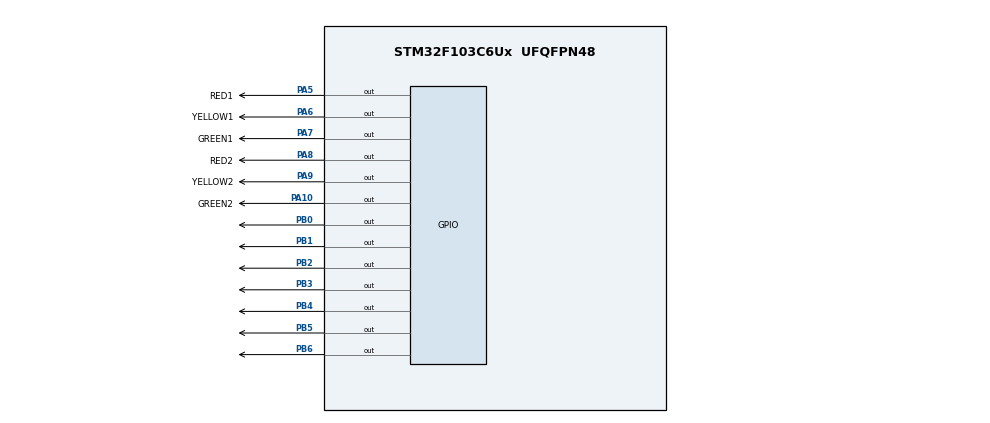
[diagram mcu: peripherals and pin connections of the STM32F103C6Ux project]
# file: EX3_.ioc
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Mcu.Family=STM32F1
Mcu.Name=STM32F103C6Ux
Mcu.Package=UFQFPN48
NVIC.PriorityGroup=NVIC_PRIORITYGROUP_4
PA10.GPIO_Label=GREEN2
PA10.Signal=GPIO_Output
PA5.GPIO_Label=RED1
PA5.Signal=GPIO_Output
PA6.GPIO_Label=YELLOW1
PA6.Signal=GPIO_Output
PA7.GPIO_Label=GREEN1
PA7.Signal=GPIO_Output
PA8.GPIO_Label=RED2
PA8.Signal=GPIO_Output
PA9.GPIO_Label=YELLOW2
PA9.Signal=GPIO_Output
PB0.Signal=GPIO_Output
PB1.Signal=GPIO_Output
PB2.Signal=GPIO_Output
PB3.Signal=GPIO_Output
PB4.Signal=GPIO_Output
PB5.Signal=GPIO_Output
PB6.Signal=GPIO_Output
ProjectManager.HeapSize=0x200
ProjectManager.StackSize=0x400
ProjectManager.TargetToolchain=STM32CubeIDE
RCC.APB1Freq_Value=8000000
RCC.APB2Freq_Value=8000000
VP_SYS_VS_ND.Mode=No_Debug
board=custom

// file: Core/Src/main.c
/* USER CODE BEGIN Header */
/**
  ******************************************************************************
  * @file           : main.c
  * @brief          : Main program body
  ******************************************************************************
  * @attention
  *
  * <h2><center>&copy; Copyright (c) 2025 STMicroelectronics.
  * All rights reserved.</center></h2>
  *
  * This software component is licensed by ST under BSD 3-Clause license,
  * the "License"; You may not use this file except in compliance with the
  * License. You may obtain a copy of the License at:
  *                        opensource.org/licenses/BSD-3-Clause
  *
  ******************************************************************************
  */
/* USER CODE END Header */
#include "main.h"

void SystemClock_Config(void);
static void MX_GPIO_Init(void);
/* USER CODE BEGIN PFP */
static const uint8_t segCode[10] = {
    0b1000000, // 0
    0b1111001, // 1
    0b0100100, // 2
    0b0110000, // 3
    0b0011001, // 4
    0b0010010, // 5
    0b0000010, // 6
    0b1111000, // 7
    0b0000000, // 8
    0b0010000  // 9
};

void display7SEG(int num) {
    if (num < 0 || num > 9) num = 0;

    for (int i = 0; i < 7; i++) {
        HAL_GPIO_WritePin(GPIOB, (1 << i),
            (segCode[num] & (1 << i)) ? GPIO_PIN_SET : GPIO_PIN_RESET);
    }
}

/* USER CODE END PFP */

int main(void)
{

  /* MCU Configuration--------------------------------------------------------*/

  /* Reset of all peripherals, Initializes the Flash interface and the Systick. */
  HAL_Init();

  /* Configure the system clock */
  SystemClock_Config();

  /* Initialize all configured peripherals */
  MX_GPIO_Init();

  /* Infinite loop */
  /* USER CODE BEGIN WHILE */
  int counter=9	;
  while (1)
  {if (counter <0) counter =9;
  display7SEG(counter--);
  HAL_Delay(1000);
    /* USER CODE END WHILE */

  }
}

void SystemClock_Config(void)
{
  RCC_OscInitTypeDef RCC_OscInitStruct = {0};
  RCC_ClkInitTypeDef RCC_ClkInitStruct = {0};

  /** Initializes the RCC Oscillators according to the specified parameters
  * in the RCC_OscInitTypeDef structure.
  */
  RCC_OscInitStruct.OscillatorType = RCC_OSCILLATORTYPE_HSI;
  RCC_OscInitStruct.HSIState = RCC_HSI_ON;
  RCC_OscInitStruct.HSICalibrationValue = RCC_HSICALIBRATION_DEFAULT;
  RCC_OscInitStruct.PLL.PLLState = RCC_PLL_NONE;
  if (HAL_RCC_OscConfig(&RCC_OscInitStruct) != HAL_OK)
  {
    Error_Handler();
  }
  /** Initializes the CPU, AHB and APB buses clocks
  */
  RCC_ClkInitStruct.ClockType = RCC_CLOCKTYPE_HCLK|RCC_CLOCKTYPE_SYSCLK
                              |RCC_CLOCKTYPE_PCLK1|RCC_CLOCKTYPE_PCLK2;
  RCC_ClkInitStruct.SYSCLKSource = RCC_SYSCLKSOURCE_HSI;
  RCC_ClkInitStruct.AHBCLKDivider = RCC_SYSCLK_DIV1;
  RCC_ClkInitStruct.APB1CLKDivider = RCC_HCLK_DIV1;
  RCC_ClkInitStruct.APB2CLKDivider = RCC_HCLK_DIV1;

  if (HAL_RCC_ClockConfig(&RCC_ClkInitStruct, FLASH_LATENCY_0) != HAL_OK)
  {
    Error_Handler();
  }
}

static void MX_GPIO_Init(void)
{
  GPIO_InitTypeDef GPIO_InitStruct = {0};

  /* GPIO Ports Clock Enable */
  __HAL_RCC_GPIOA_CLK_ENABLE();
  __HAL_RCC_GPIOB_CLK_ENABLE();

  /*Configure GPIO pin Output Level */
  HAL_GPIO_WritePin(GPIOA, RED1_Pin|YELLOW1_Pin|GREEN1_Pin|RED2_Pin
                          |YELLOW2_Pin|GREEN2_Pin, GPIO_PIN_RESET);

  /*Configure GPIO pin Output Level */
  HAL_GPIO_WritePin(GPIOB, GPIO_PIN_0|GPIO_PIN_1|GPIO_PIN_2|GPIO_PIN_3
                          |GPIO_PIN_4|GPIO_PIN_5|GPIO_PIN_6, GPIO_PIN_RESET);

  /*Configure GPIO pins : RED1_Pin YELLOW1_Pin GREEN1_Pin RED2_Pin
                           YELLOW2_Pin GREEN2_Pin */
  GPIO_InitStruct.Pin = RED1_Pin|YELLOW1_Pin|GREEN1_Pin|RED2_Pin
                          |YELLOW2_Pin|GREEN2_Pin;
  GPIO_InitStruct.Mode = GPIO_MODE_OUTPUT_PP;
  GPIO_InitStruct.Pull = GPIO_NOPULL;
  GPIO_InitStruct.Speed = GPIO_SPEED_FREQ_LOW;
  HAL_GPIO_Init(GPIOA, &GPIO_InitStruct);

  /*Configure GPIO pins : PB0 PB1 PB2 PB3
                           PB4 PB5 PB6 */
  GPIO_InitStruct.Pin = GPIO_PIN_0|GPIO_PIN_1|GPIO_PIN_2|GPIO_PIN_3
                          |GPIO_PIN_4|GPIO_PIN_5|GPIO_PIN_6;
  GPIO_InitStruct.Mode = GPIO_MODE_OUTPUT_PP;
  GPIO_InitStruct.Pull = GPIO_NOPULL;
  GPIO_InitStruct.Speed = GPIO_SPEED_FREQ_LOW;
  HAL_GPIO_Init(GPIOB, &GPIO_InitStruct);

}

void Error_Handler(void)
{
  __disable_irq();
  while (1)
  {
  }
}

/************************ (C) COPYRIGHT STMicroelectronics *****END OF FILE****/
